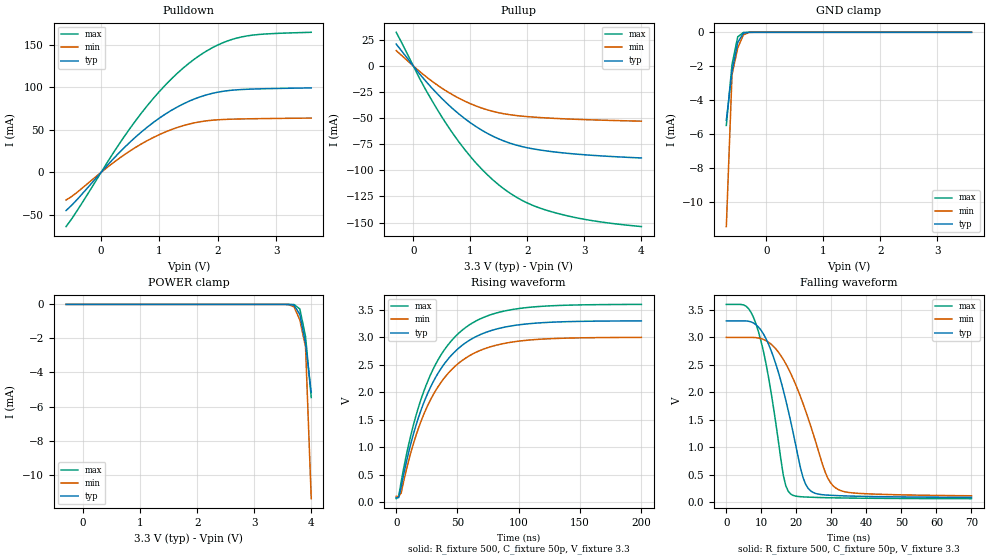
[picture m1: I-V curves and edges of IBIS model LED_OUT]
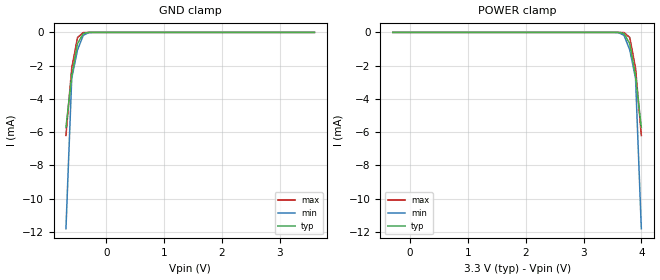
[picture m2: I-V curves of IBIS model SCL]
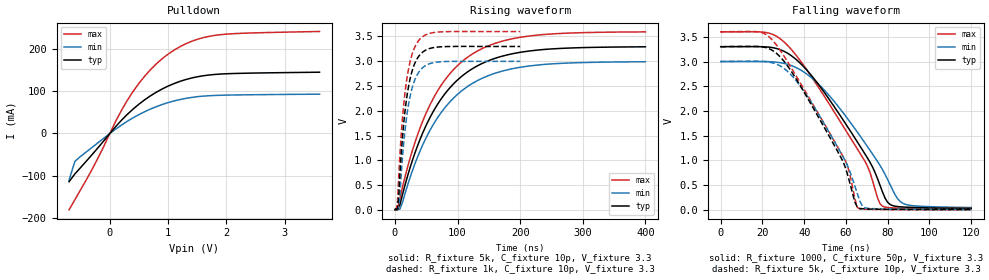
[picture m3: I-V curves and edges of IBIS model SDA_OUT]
|   NXP Semiconductors Inc.
|   IBIS model of PCA9685
[IBIS Ver]   3.2
[Comment Char]   |_char
[File name]   pca9685_3_3v.ibs
[File Rev]   1.0
[Date]   Nov 3, 2008 12:19:04 PM
[Source]
Generated by Seshadri Venkataramanan using IbisToolKit at Tempe, AZ
[Notes]
[Disclaimer]
(C) Copyright 2007 NXP Semiconductors
All rights reserved
NXP Semiconductors (NXP) does not warrant that this model and any other
accompanying information (Model) accurately or fully represents the
operating characteristics and specifications of the semiconductor
products to which the Model relates.  Moreover, the Model is furnished
on an "as is" and with "all faults" basis, and without support or
warranty of any kind.  NXP disclaims all warranties, whether expressed
or implied or statutory, including without limitation all implied
warranties of non-infringement, merchantability and fitness for any
purpose, and those arising from a course of dealing or usage of trade.
NXP does not convey any license under its or any third party's patents,
copyrights or other intellectual property or proprietary rights.
You and your company assume any and all risks and liability arising out
of the application or use of the Model.
In no event shall NXP be liable for any direct, indirect, special,
consequential or incidental damages, however caused, whether in
warranty, contract or tort (including negligence), strict liability or
other legal theory, including, without limitation, for lost profits,
business interruption, or corruption or loss of data or information,
arising out of or in connection with the use of or the inability to use
the Model, even if NXP has been advised of the possibility of such
damages.
NXP provides the Model as a courtesy to our customers. You and your
company shall not distribute, convey, sell, or give the Model to anyone
else without receiving prior written permission from NXP.
NXP reserves the right to make changes without notice to the Model to
improve reliability, function, or design.
Please be aware that your receipt and subsequent use of the Model shall
serve as acceptance of these terms and conditions.  If you do not
accept these terms, return or destroy the Model immediately.
[Copyright]
2008
[Component]   PCA9685PW
Si_location Pin
Timing_location Pin
[Manufacturer]   NXP Semiconductors
[Package]
R_pkg   1.82E-03   9.03E-04   3.6E-03
L_pkg   1.30E-09   4.84E-10   6.95E-09
C_pkg   6.66E-12   6.53E-12   6.80E-12
|  TSSOP28
[Pin] signal_name   model_name   R_pin   L_pin   C_pin
1   A0   INPUT_TTL   3.24E-03  2.45E-09  6.80E-12
2   A1   INPUT_TTL   2.68E-03  1.80E-09  6.79E-12
3   A2   INPUT_TTL   2.24E-03  1.22E-09  6.68E-12
4   A3   INPUT_TTL   1.40E-03  7.77E-10  6.58E-12
5   A4   INPUT_TTL   9.09E-04  4.88E-10  6.53E-12
6   LED0   LED_OUT   9.03E-04  4.84E-10  6.53E-12
7   LED1   LED_OUT   9.09E-04  4.88E-10  6.53E-12
8   LED2   LED_OUT   9.09E-04  4.88E-10  6.53E-12
9   LED3   LED_OUT   9.03E-04  4.84E-10  6.53E-12
10   LED4   LED_OUT   9.09E-04  4.88E-10  6.53E-12
11   LED5   LED_OUT   1.40E-03  7.77E-10  6.58E-12
12   LED6   LED_OUT   2.24E-03  1.22E-09  6.68E-12
13   LED7   LED_OUT   2.68E-03  1.80E-09  6.79E-12
14   VSS   GND   3.24E-03  2.45E-09  6.80E-12
15   LED8   LED_OUT   3.24E-03  2.45E-09  6.80E-12
16   LED9   LED_OUT   2.69E-03  1.80E-09  6.79E-12
17   LED10   LED_OUT   2.24E-03  1.22E-09  6.68E-12
18   LED11   LED_OUT   1.40E-03  7.78E-10  6.58E-12
19   LED12   LED_OUT   9.09E-04  4.88E-10  6.54E-12
20   LED13   LED_OUT   9.03E-04  4.84E-10  6.53E-12
21   LED14   LED_OUT   9.09E-04  4.88E-10  6.53E-12
22   LED15   LED_OUT   9.09E-04  4.88E-10  6.53E-12
23   OEbar   INPUT_TTL   9.03E-04  4.84E-10  6.53E-12
24   A5   INPUT_TTL   9.09E-04  4.88E-10  6.53E-12
25   EXTCLK   INPUT_TTL   1.40E-03  7.78E-10  6.58E-12
26   SCL   SCL   2.24E-03  1.22E-09  6.68E-12
27   SDA   SDA   2.69E-03  1.80E-09  6.79E-12
28   VDD   POWER   3.24E-03  2.45E-09  6.80E-12
|   LED
[Define Package Model]  SOT788_1
[Manufacturer]  NXP APK
[OEM]  Unknown
[Description]  Simulated @ 100MHz / for application PCa9685
|[Simulated] Rason Lei
|[Approved] Wayne Nunn
[Number Of Pins]  30
[Pin Numbers]
|Pin Num   Terminal Name
1   | Lead1:Pin1
2   | Lead2:Pin2
3   | Lead3:Pin3
4   | Lead4:Pin4
5   | Lead5:Pin5
6   | Lead6:Pin6
7   | Lead7:Pin7
8   | Lead8:Pin8
9   | Lead9:Pin9
10   | Lead10:Pin10
11   | Lead11:Pin11
12   | Lead11:Pin12
13   | Lead12:Pin13
14   | Lead13:Pin14
15   | Lead14:Pin15
16   | Lead15:Pin16
17   | Lead16:Pin17
18   | Lead17:Pin18
19   | Lead18:Pin19
20   | Lead19:Pin20
21   | Lead20:Pin21
22   | Lead21:Pin22
23   | Lead22:Pin23
24   | Lead23:Pin24
25   | Lead24:Pin25
26   | Lead25:Pin26
27   | Lead25:Pin27
28   | Lead26:Pin28
29   | Lead27:Pin29
30   | Lead28:Pin30
[Model Data]
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[End Model Data]
[End Package Model]
[Model Selector]   SDA
SDA_IN   SDA as an Input
SDA_OUT   SDA as output
| Models and submodels in the file (5): LED_OUT (I/O), SCL (Input), SDA_OUT (Open_drain), INPUT_TTL (Input), SDA_IN (Input)
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[Model]   LED_OUT
Model_type I/O
Enable Active-Low
Polarity Non-Inverting
Vinh=2.31
Vinl=0.99
Vref=3.3
Vmeas=1.65
Rref=500
Cref=50p
C_comp   3.2p   3p   3.4p
[Temperature Range] 27   85   -40
[Voltage Range]   3.3   3   3.6
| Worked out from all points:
|   slope of the pulldown table from 0 to 0.495 V, typ, clamps not added: 13.9 ohm
|   slope of the pullup table from 0 to 0.495 V, typ, clamps not added: 16.1 ohm
|   GND clamp passes 1 mA (typ) near -0.52 V on its own axis
|   falling waveform, R_fixture 500, C_fixture 50p, V_fixture 3.3: 20-80 % time 7.44ns typ, 9.66ns min, 5.55ns max; typ from 3.3 V to 0.09 V
|   rising waveform, R_fixture 500, C_fixture 50p, V_fixture 3.3: 20-80 % time 36ns typ, 36.2ns min, 35.9ns max; typ from 0.083 V to 3.3 V
[Pullup]
-300mV    20.96mA    14.71mA    32.26mA
200mV     -13.4mA    -9.259mA   -21.13mA
600mV     -36.39mA   -24.73mA   -57.22mA
800mV     -46.02mA   -30.95mA   -72.82mA
1V        -54.39mA   -36.15mA   -86.7mA
1.2V      -61.52mA   -40.35mA   -98.88mA
1.5V      -69.93mA   -44.85mA   -114mA
1.9V      -77.18mA   -48.05mA   -128.6mA
2.1V      -79.43mA   -48.97mA   -133.7mA
2.4V      -81.87mA   -50.01mA   -139.3mA
3.1V      -85.48mA   -51.59mA   -147.9mA
4V        -88.16mA   -52.89mA   -153.9mA
[Pulldown]
-600mV    -44.93mA   -32.63mA   -63.84mA
-400mV    -31.2mA    -22.91mA   -43.97mA
300mV     22.44mA    15.98mA    32.39mA
600mV     42.17mA    29.78mA    61.64mA
900mV     59.01mA    41.25mA    87.49mA
1.1V      68.57mA    47.55mA    102.7mA
1.5V      83.57mA    56.74mA    128.2mA
1.9V      92.95mA    61.36mA    146.5mA
2.1V      95.58mA    62.28mA    153mA
2.3V      97.07mA    62.73mA    157.7mA
2.7V      98.29mA    63.22mA    162.3mA
3.6V      99.44mA    63.91mA    164.9mA
[GND Clamp]
-700mV    -5.178mA   -11.42mA   -5.473mA
-600mV    -2.292mA   -2.487mA   -1.883mA
-500mV    -594.6uA   -920.9uA   -266.8uA
-400mV    -51.49uA   -148.2uA   -7.79uA
-300mV    -1.41uA    -7.234uA   -85.84nA
-200mV    -24.87nA   -185.2nA   -862.6pA
3.6V      321.7pA    410.2pA    89.26pA
[POWER Clamp]
-300mV    321.7pA    410.2pA    89.26pA
3.5V      -24.87nA   -185.2nA   -862.6pA
3.6V      -1.41uA    -7.234uA   -85.84nA
3.7V      -51.49uA   -148.2uA   -7.79uA
3.8V      -594.6uA   -920.9uA   -266.8uA
3.9V      -2.292mA   -2.487mA   -1.883mA
4V        -5.178mA   -11.42mA   -5.473mA
[Falling Waveform]
R_fixture=500
C_fixture=50p
V_fixture=3.3
V_fixture_min=3
V_fixture_max=3.6
0s        3.3V       3V         3.6V
5.657ns   3.299V     3V         3.566V
8.485ns   3.231V     2.995V     3.242V
12.02ns   2.881V     2.914V     2.284V
16.26ns   2.04V      2.6V       494.3mV
18.38ns   1.469V     2.345V     150.2mV
23.33ns   256.5mV    1.534V     94.64mV
28.28ns   133.8mV    540.1mV    84.84mV
31.11ns   123.6mV    265.9mV    81.25mV
70ns      89.89mV    119.3mV    66.5mV
[Rising Waveform]
R_fixture=500
C_fixture=50p
V_fixture=3.3
V_fixture_min=3
V_fixture_max=3.6
0s        82.67mV    104.5mV    63.32mV
2.02ns    82.02mV    103.5mV    108.2mV
4.04ns    273.2mV    164.8mV    370.1mV
14.14ns   1.245V     1.071V     1.413V
24.24ns   1.905V     1.688V     2.119V
38.38ns   2.489V     2.235V     2.742V
54.55ns   2.866V     2.589V     3.141V
72.73ns   3.085V     2.796V     3.374V
98.99ns   3.223V     2.926V     3.519V
200ns     3.297V     2.997V     3.597V
[Ramp]
R_load=500
dV/dt_r   1.920E+0/3.654E-9   1.719E+0/5.275E-9   2.118E+0/2.538E-9
dV/dt_f   1.926E+0/4.454E-9   1.729E+0/6.158E-9   2.120E+0/3.068E-9
|[End   LED_OUT
[Model]   SCL
Model_type Input
Vinh=2.31
Vinl=0.99
C_comp   1.7p   1.6p   1.8p
[Temperature Range] 27   85   -40
[Voltage Range]   3.3   3   3.6
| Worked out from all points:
|   GND clamp passes 1 mA (typ) near -0.52 V on its own axis
[GND Clamp]
-700mV    -5.728mA   -11.81mA   -6.202mA
-600mV    -2.616mA   -2.756mA   -2.153mA
-500mV    -682.1uA   -1.055mA   -306.8uA
-400mV    -59.38uA   -170.1uA   -9.031uA
-300mV    -1.654uA   -8.377uA   -100.6nA
-200mV    -29.62nA   -217.9nA   -873.5pA
3.6V      100.3pA    301.6pA    80.9pA
[POWER Clamp]
-300mV    100.3pA    301.6pA    80.9pA
3.5V      -29.62nA   -217.9nA   -873.5pA
3.6V      -1.654uA   -8.377uA   -100.6nA
3.7V      -59.38uA   -170.1uA   -9.031uA
3.8V      -682.1uA   -1.055mA   -306.8uA
3.9V      -2.616mA   -2.756mA   -2.153mA
4V        -5.728mA   -11.81mA   -6.202mA
[Model]   SDA_OUT
Model_type Open_drain
Vref=3.3
Vmeas=1.65
Rref=1000
Cref=10p
C_comp   3.1p   3p   3.3p
[Temperature Range] 27   85   -40
[Voltage Range]   3.3   3   3.6
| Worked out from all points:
|   slope of the pulldown table from 0 to 0.495 V, typ, clamps not added: 7.2 ohm
|   falling waveform, R_fixture 1000, C_fixture 50p, V_fixture 3.3: 20-80 % time 29.8ns typ, 29.8ns min, 31.3ns max; typ from 3.3 V to 0.031 V
|   falling waveform, R_fixture 5k, C_fixture 10p, V_fixture 3.3: 20-80 % time 24.8ns typ, 23.5ns min, 28.2ns max; typ from 3.3 V to 0.006 V
|   rising waveform, R_fixture 5k, C_fixture 10p, V_fixture 3.3: 20-80 % time 81.3ns typ, 82.8ns min, 79.7ns max; typ from 0.004 V to 3.29 V
|   rising waveform, R_fixture 1k, C_fixture 10p, V_fixture 3.3: 20-80 % time 16.4ns typ, 16.7ns min, 16ns max; typ from 0.015 V to 3.3 V
[Pulldown]
-700mV    -113.9mA   -110.4mA   -180.4mA
-600mV    -95.69mA   -65.94mA   -156.7mA
-300mV    -49.21mA   -32.36mA   -83.63mA
100mV     16.3mA     10.34mA    28.69mA
300mV     45.18mA    28.93mA    78.33mA
600mV     79.83mA    51.65mA    135.9mA
800mV     97.77mA    63.55mA    164.9mA
1V        112.1mA    73.01mA    187.6mA
1.4V      131.1mA    85.2mA     217.8mA
1.8V      139.6mA    89.94mA    232mA
2.3V      142.4mA    91.39mA    237.1mA
3.6V      144.9mA    92.99mA    241.2mA
[Falling Waveform]
R_fixture=1000
C_fixture=50p
V_fixture=3.3
V_fixture_min=3
V_fixture_max=3.6
0s        3.3V       3V         3.6V
23.03ns   3.291V     2.998V     3.575V
32.73ns   3.149V     2.935V     3.296V
48.48ns   2.442V     2.474V     2.372V
69.09ns   1.131V     1.353V     982.2mV
75.15ns   628.1mV    977mV      238.5mV
77.58ns   354.5mV    808.8mV    73.47mV
81.21ns   108.2mV    505.2mV    43.84mV
87.27ns   59.36mV    133.4mV    32.39mV
120ns     31.01mV    48.39mV    17.88mV
[Falling Waveform]
R_fixture=5k
C_fixture=10p
V_fixture=3.3
V_fixture_min=3
V_fixture_max=3.6
0s        3.3V       3V         3.6V
19.39ns   3.299V     3.003V     3.589V
29.09ns   3.066V     2.895V     3.19V
40ns      2.376V     2.391V     2.433V
59.39ns   892.9mV    1.011V     1.021V
61.82ns   552mV      781.5mV    732.1mV
65.45ns   53.4mV     328.8mV    48.9mV
67.88ns   23.92mV    78mV       16.31mV
70.3ns    18.98mV    33.59mV    12.21mV
120ns     5.858mV    8.977mV    3.439mV
[Rising Waveform]
R_fixture=5k
C_fixture=10p
V_fixture=3.3
V_fixture_min=3
V_fixture_max=3.6
0s        3.922mV    5.647mV    2.411mV
4.04ns    3.747mV    5.11mV     12.26mV
8.081ns   106mV      16.29mV    236.7mV
28.28ns   1.01V      801.5mV    1.212V
52.53ns   1.775V     1.522V     2.026V
80.81ns   2.357V     2.076V     2.637V
117.2ns   2.794V     2.498V     3.09V
157.6ns   3.047V     2.746V     3.349V
210.1ns   3.198V     2.895V     3.5V
400ns     3.29V      2.988V     3.591V
[Rising Waveform]
R_fixture=1k
C_fixture=10p
V_fixture=3.3
V_fixture_min=3
V_fixture_max=3.6
0s        15.4mV     21.44mV    9.762mV
4.04ns    27.15mV    25.96mV    131.3mV
6.061ns   267.4mV    58.84mV    669.4mV
8.081ns   729mV      316.5mV    1.132V
12.12ns   1.465V     1.061V     1.854V
18.18ns   2.199V     1.822V     2.565V
26.26ns   2.747V     2.399V     3.088V
36.36ns   3.067V     2.743V     3.388V
66.67ns   3.283V     2.98V      3.585V
200ns     3.297V     2.996V     3.597V
[Ramp]
R_load=1k
dV/dt_r   1.968E+0/2.660E-9   1.961E+0/3.131E-9   1.973E+0/2.290E-9
dV/dt_f   1.962E+0/2.881E-8   1.949E+0/3.120E-8   1.971E+0/2.778E-8
|[End   SDA_OUT
